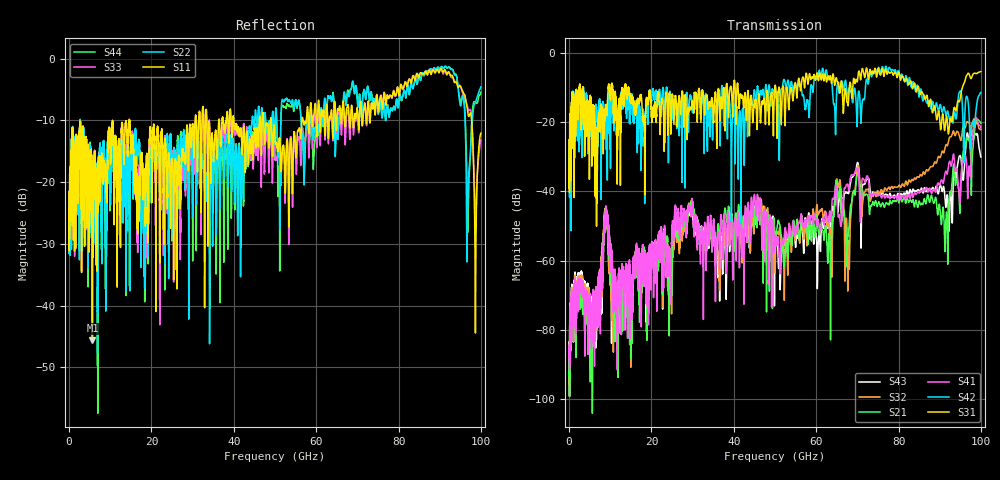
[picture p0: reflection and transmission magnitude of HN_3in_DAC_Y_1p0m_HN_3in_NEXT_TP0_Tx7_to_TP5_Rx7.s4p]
# GHz S RI R 45
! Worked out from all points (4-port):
!   4000 points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, 25 MHz to 100 GHz, reference 45 ohm
!   strongest paths, dB at 25 MHz, 25.02 GHz, 50.02 GHz, 75.03 GHz, 100 GHz:
!     S31: -39.1, -12.4, -9.7, -4.6, -5.5
!     S42: -38.9, -15.9, -12.9, -4.7, -11.5
!     S41: -88.1, -50.6, -53.7, -41.3, -21.7
!     S21: -93.4, -56.6, -55.0, -43.6, -20.4
!     S32: -95.5, -58.7, -63.6, -39.9, -22.2
!     S43: -94.9, -53.8, -55.9, -40.6, -30.1
!   lowest |S11| = -45.6 dB at 5.675 GHz (marker M1), VSWR 1.01, Z = 44.6 + j0.298 ohm
!   |S11| at or under -10 dB: start of sweep to 10.55 GHz; 14.73 GHz to 30.62 GHz (15.89 GHz wide, 70.1 % of centre); 49.09 GHz to 56.54 GHz (7.454 GHz wide, 14.1 % of centre)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
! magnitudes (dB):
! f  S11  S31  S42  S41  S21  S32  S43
! 25 MHz  -24.2  -39.1  -38.9  -88.1  -93.4  -95.5  -94.9
! 5.675 GHz  -45.6  -20.4  -20.1  -73.6  -104.0  -81.1  -75.3
! 8.925 GHz  -20.3  -16.7  -22.5  -47.2  -47.3  -47.3  -47.6
! 11.18 GHz  -13.2  -11.1  -13.6  -66.4  -68.5  -72.6  -79.2
! 29.5 GHz  -11.6  -16.2  -12.3  -46.4  -44.8  -45.0  -46.9
! 91.58 GHz  -2.3  -18.6  -18.2  -34.2  -46.7  -26.5  -44.1
! 100 GHz  -12.1  -5.5  -11.5  -21.7  -20.4  -22.2  -30.1
